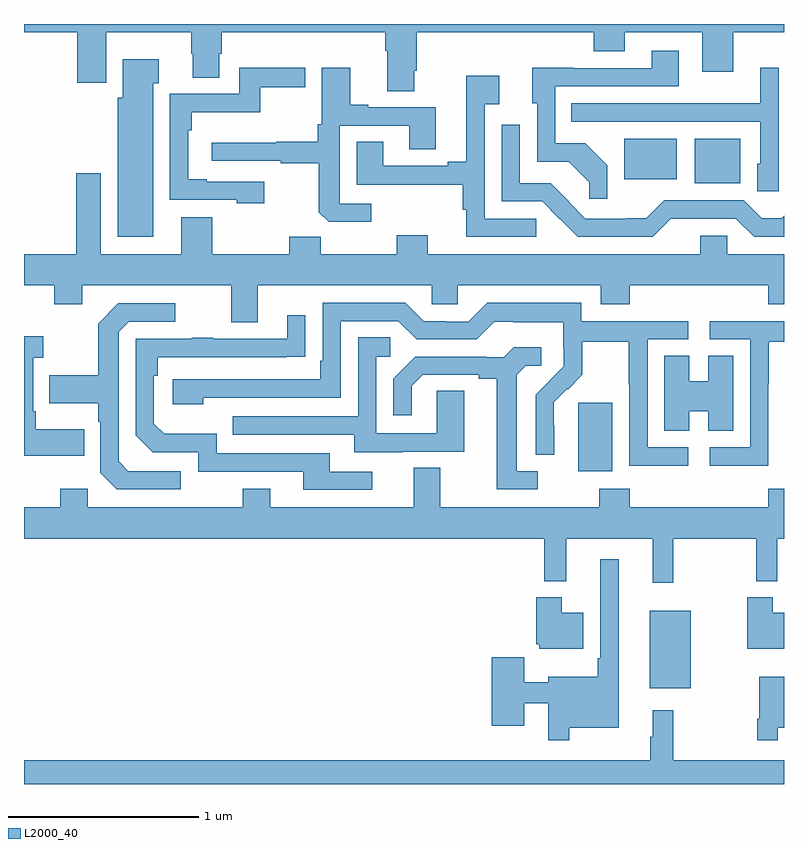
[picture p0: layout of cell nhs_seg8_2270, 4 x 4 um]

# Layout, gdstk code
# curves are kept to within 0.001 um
import gdstk
lib = gdstk.Library(unit=1e-6, precision=1e-09)
def R(c, l, rs):  # rectangles x0, y0, x1, y1
    for r in rs: c.add(gdstk.rectangle(r[:2], r[2:], *l))
def P(c, l, *ps):  # polygons
    for p in ps: c.add(gdstk.Polygon(p, *l))
L2000_40 = (2000, 40)

nhs_seg8_2270 = lib.new_cell('nhs_seg8_2270')
R(nhs_seg8_2270, L2000_40, [(258.293,1090.403,258.508,1090.813), (257.918,1091.546,258.097,1091.907), (258.53,1093.061,258.769,1093.297), (258.158,1093.082,258.436,1093.297)])
P(nhs_seg8_2270, L2000_40, [(257.053,1093.654),(257.066,1093.654),(257.066,1093.856),(257.999,1093.856),(257.999,1093.757),(258.163,1093.757),(258.163,1093.856),(258.569,1093.856),(258.569,1093.65),(258.733,1093.65),(258.733,1093.856),(259,1093.856),(259,1093.9),(255,1093.9),(255,1093.856),(255.281,1093.856),(255.281,1093.59),(255.433,1093.59),(255.433,1093.856),(255.88,1093.856),(255.88,1093.743),(255.887,1093.743),(255.887,1093.618),(256.027,1093.618),(256.027,1093.743),(256.04,1093.743),(256.04,1093.856),(256.901,1093.856),(256.901,1093.76),(256.913,1093.76),(256.913,1093.546),(257.053,1093.546)],
  [(258.069,1093.156),(257.953,1093.272),(257.796,1093.272),(257.796,1093.572),(258.445,1093.572),(258.445,1093.759),(258.305,1093.759),(258.305,1093.668),(257.893,1093.668),(257.893,1093.67),(257.675,1093.67),(257.675,1093.482),(257.7,1093.482),(257.7,1093.176),(257.866,1093.176),(257.974,1093.068),(257.974,1092.981),(258.069,1092.981)],
  [(255.679,1093.589),(255.709,1093.589),(255.709,1093.714),(255.521,1093.714),(255.521,1093.512),(255.494,1093.512),(255.494,1092.779),(255.679,1092.779)],
  [(256.264,1093.071),(255.961,1093.071),(255.961,1093.084),(255.864,1093.084),(255.864,1093.34),(255.884,1093.34),(255.884,1093.436),(256.243,1093.436),(256.243,1093.567),(256.48,1093.567),(256.48,1093.67),(256.134,1093.67),(256.134,1093.533),(255.768,1093.533),(255.768,1092.975),(256.119,1092.975),(256.119,1092.956),(256.264,1092.956)],
  [(256.828,1092.954),(256.662,1092.954),(256.662,1093.365),(257.027,1093.365),(257.027,1093.24),(257.167,1093.24),(257.167,1093.461),(256.813,1093.461),(256.813,1093.474),(256.717,1093.474),(256.717,1093.669),(256.566,1093.669),(256.566,1093.372),(256.546,1093.372),(256.546,1093.28),(256.327,1093.28),(256.327,1093.276),(255.987,1093.276),(255.987,1093.179),(256.351,1093.179),(256.351,1093.167),(256.551,1093.167),(256.551,1092.909),(256.603,1092.858),(256.828,1092.858)],
  [(258.972,1093.669),(258.875,1093.669),(258.875,1093.483),(258.541,1093.483),(258.541,1093.482),(257.881,1093.482),(257.881,1093.386),(258.876,1093.386),(258.876,1093.164),(258.86,1093.164),(258.86,1093.021),(258.972,1093.021)],
  [(257.697,1092.876),(257.424,1092.876),(257.424,1093.478),(257.5,1093.478),(257.5,1093.627),(257.327,1093.627),(257.327,1093.175),(257.231,1093.175),(257.231,1093.155),(256.891,1093.155),(256.891,1093.28),(256.751,1093.28),(256.751,1093.054),(257.308,1093.054),(257.308,1092.923),(257.327,1092.923),(257.327,1092.78),(257.697,1092.78)],
  [(258.404,1092.875),(258.747,1092.876),(258.843,1092.78),(259,1092.78),(259,1092.892),(258.985,1092.877),(258.884,1092.877),(258.789,1092.972),(258.369,1092.972),(258.275,1092.878),(258.17,1092.878),(258.17,1092.876),(257.955,1092.876),(257.865,1092.966),(257.867,1092.968),(257.773,1093.062),(257.61,1093.062),(257.61,1093.369),(257.514,1093.369),(257.514,1092.966),(257.727,1092.966),(257.915,1092.78),(258.309,1092.78)],
  [(257.145,1092.426),(257.283,1092.426),(257.283,1092.524),(258.035,1092.524),(258.035,1092.425),(258.188,1092.425),(258.188,1092.524),(258.916,1092.524),(258.916,1092.425),(259,1092.425),(259,1092.688),(258.702,1092.688),(258.702,1092.786),(258.56,1092.786),(258.56,1092.688),(257.125,1092.688),(257.125,1092.787),(256.961,1092.787),(256.961,1092.688),(256.561,1092.688),(256.561,1092.781),(256.397,1092.781),(256.397,1092.688),(255.991,1092.688),(255.991,1092.883),(255.827,1092.883),(255.827,1092.688),(255.403,1092.688),(255.403,1093.114),(255.275,1093.114),(255.275,1092.688),(255,1092.688),(255,1092.524),(255.16,1092.524),(255.16,1092.425),(255.307,1092.425),(255.307,1092.524),(256.091,1092.524),(256.091,1092.33),(256.231,1092.33),(256.231,1092.524),(257.145,1092.524)],
  [(258.496,1091.673),(258.282,1091.673),(258.282,1092.24),(258.496,1092.24),(258.496,1092.336),(257.934,1092.336),(257.934,1092.433),(257.437,1092.433),(257.337,1092.333),(257.222,1092.333),(257.222,1092.336),(257.103,1092.336),(257.007,1092.432),(256.572,1092.432),(256.572,1092.127),(256.559,1092.127),(256.559,1092.03),(255.783,1092.03),(255.783,1091.9),(255.944,1091.9),(255.944,1091.934),(256.668,1091.934),(256.668,1092.336),(256.971,1092.336),(257.067,1092.24),(257.382,1092.24),(257.475,1092.333),(257.575,1092.333),(257.575,1092.329),(257.838,1092.329),(257.838,1092.195),(257.84,1092.195),(257.84,1092.098),(257.694,1091.95),(257.694,1091.632),(257.79,1091.632),(257.789,1091.909),(257.859,1091.979),(257.862,1091.976),(257.939,1092.053),(257.939,1092.228),(258.184,1092.228),(258.184,1092.004),(258.186,1092.004),(258.186,1091.575),(258.496,1091.575)],
  [(255.826,1091.547),(255.549,1091.547),(255.498,1091.598),(255.498,1092.279),(255.552,1092.333),(255.796,1092.333),(255.796,1092.429),(255.495,1092.429),(255.39,1092.323),(255.39,1092.051),(255.133,1092.051),(255.133,1091.903),(255.39,1091.903),(255.39,1091.807),(255.402,1091.807),(255.402,1091.538),(255.489,1091.451),(255.826,1091.451)],
  [(256.834,1091.544),(256.609,1091.544),(256.609,1091.64),(256.014,1091.64),(256.014,1091.743),(255.737,1091.743),(255.684,1091.796),(255.684,1092.05),(255.704,1092.05),(255.704,1092.147),(256.481,1092.148),(256.481,1092.367),(256.385,1092.367),(256.385,1092.243),(255.995,1092.243),(255.995,1092.248),(255.883,1092.248),(255.883,1092.243),(255.588,1092.243),(255.588,1091.736),(255.678,1091.646),(255.918,1091.646),(255.918,1091.544),(256.469,1091.544),(256.469,1091.448),(256.834,1091.448)],
  [(258.918,1092.004),(258.921,1092.004),(258.921,1092.228),(259,1092.228),(259,1092.336),(258.609,1092.336),(258.609,1092.24),(258.822,1092.24),(258.822,1091.673),(258.609,1091.673),(258.609,1091.575),(258.918,1091.575)],
  [(255.317,1091.767),(255.061,1091.767),(255.061,1091.863),(255.048,1091.863),(255.048,1092.143),(255.1,1092.143),(255.1,1092.256),(255,1092.256),(255,1091.627),(255.317,1091.627)],
  [(256.993,1091.649),(257.317,1091.649),(257.317,1091.969),(257.172,1091.969),(257.172,1091.745),(256.854,1091.745),(256.854,1092.15),(256.927,1092.15),(256.927,1092.251),(256.758,1092.251),(256.758,1091.835),(256.099,1091.835),(256.099,1091.739),(256.739,1091.739),(256.739,1091.645),(256.993,1091.645)],
  [(257.704,1091.547),(257.593,1091.547),(257.593,1092.055),(257.64,1092.102),(257.722,1092.102),(257.722,1092.199),(257.578,1092.199),(257.526,1092.147),(257.432,1092.147),(257.432,1092.15),(257.06,1092.15),(256.944,1092.034),(256.944,1091.841),(257.041,1091.841),(257.041,1091.997),(257.098,1092.054),(257.393,1092.054),(257.393,1092.032),(257.489,1092.032),(257.489,1091.451),(257.704,1091.451)],
  [(258.502,1091.861),(258.602,1091.861),(258.602,1091.758),(258.733,1091.758),(258.733,1092.155),(258.602,1092.155),(258.602,1092.019),(258.502,1092.019),(258.502,1092.155),(258.371,1092.155),(258.371,1091.758),(258.502,1091.758)],
  [(258.418,1091.192),(258.855,1091.192),(258.855,1090.967),(258.965,1090.967),(258.965,1091.192),(259,1091.192),(259,1091.455),(258.916,1091.455),(258.916,1091.356),(258.188,1091.356),(258.188,1091.455),(258.028,1091.455),(258.028,1091.356),(257.191,1091.356),(257.191,1091.564),(257.051,1091.564),(257.051,1091.356),(256.297,1091.356),(256.297,1091.455),(256.15,1091.455),(256.15,1091.356),(255.336,1091.356),(255.336,1091.455),(255.19,1091.455),(255.19,1091.356),(255,1091.356),(255,1091.192),(257.737,1091.192),(257.737,1090.967),(257.855,1090.967),(257.855,1091.192),(258.308,1091.192),(258.308,1090.959),(258.418,1090.959)],
  [(257.869,1090.196),(258.13,1090.196),(258.13,1091.083),(258.033,1091.083),(258.033,1090.561),(258.021,1090.561),(258.021,1090.465),(257.759,1090.465),(257.759,1090.435),(257.632,1090.435),(257.632,1090.567),(257.462,1090.567),(257.462,1090.206),(257.632,1090.206),(257.632,1090.326),(257.76,1090.326),(257.76,1090.131),(257.869,1090.131)],
  [(257.944,1090.801),(257.83,1090.801),(257.83,1090.882),(257.696,1090.882),(257.696,1090.635),(257.712,1090.635),(257.712,1090.613),(257.944,1090.613)],
  [(259,1090.801),(258.94,1090.801),(258.94,1090.882),(258.806,1090.882),(258.806,1090.613),(259,1090.613)],
  [(258.966,1090.196),(259,1090.196),(259,1090.465),(258.87,1090.465),(258.87,1090.243),(258.858,1090.243),(258.858,1090.131),(258.966,1090.131)],
  [(259,1090.024),(258.418,1090.024),(258.418,1090.288),(258.308,1090.288),(258.308,1090.148),(258.297,1090.148),(258.297,1090.024),(255,1090.024),(255,1089.9),(259,1089.9)])

lib.write_gds('nhs_seg8_2270.gds')
